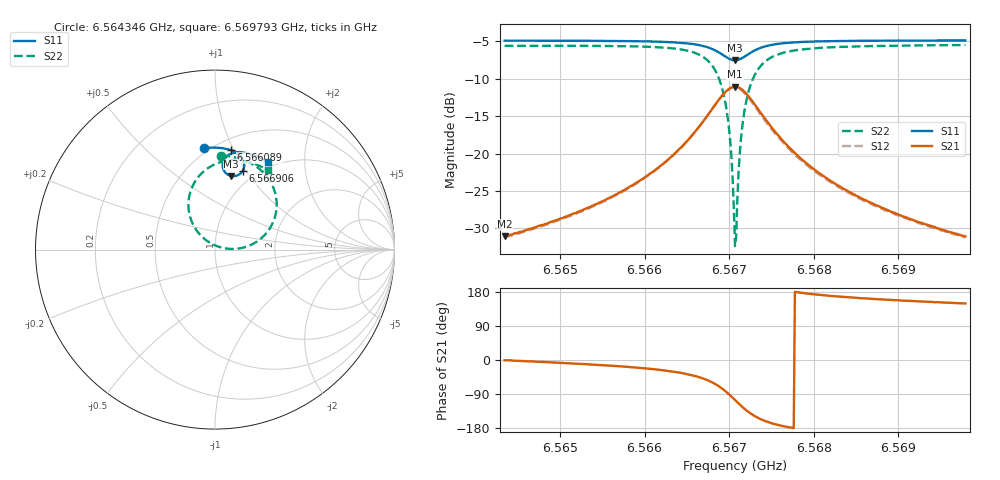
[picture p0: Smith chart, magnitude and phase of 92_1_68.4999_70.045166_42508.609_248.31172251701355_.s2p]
#  HZ  S  RI  R  50.00
! Rohde & Schwarz Vector Network Analyzer
! Rohde-Schwarz,ZNB20-2Port,1311601062101988,3.16
! Created: UTC 3/20/2024, 5:07:50 PM
! freq[Hz]  re:S11  im:S11  re:S21  im:S21  re:S12  im:S12  re:S22  im:S22
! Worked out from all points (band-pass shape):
!   401 points, 6.564346 GHz to 6.569793 GHz, reference 50 ohm
!   highest |S21| = -11.05 dB at 6.567069 GHz (marker M1); lowest = -31.1 dB at 6.564346 GHz (marker M2)
!   |S21| within 3 dB of the highest: 6.566798 GHz to 6.567342 GHz (544.3 kHz wide, 0.00829 % of centre)
!   lowest |S11| = -7.5 dB at 6.567069 GHz (marker M3), VSWR 2.45, Z = 41.3 + j41.2 ohm
!   |S11| at or under -10 dB: nowhere
!   |S22| runs from -32.4 to -5.5 dB; largest |S21 - S12| = 0.013
!   S11 on the Smith chart (normalised r, x): 6.564346 GHz: 0.47, +0.78; 6.566089 GHz: 0.60, +0.97; 6.566906 GHz: 0.86, +0.97; 6.569793 GHz: 0.92, +1.33
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6.5643458e9  -0.0636 0.5655  0.0279 -0.000298  0.0275 -0.000855  0.036 0.5242
6.5652582e9  0.011 0.5677  0.041 -0.00746  0.0403 -0.00821  0.1221 0.5109
6.5660889e9  0.0882 0.5546  0.0686 -0.0303  0.0675 -0.0311  0.2292 0.4632
6.5661706e9  0.0968 0.5513  0.0732 -0.0354  0.0719 -0.0361  0.2431 0.4529
6.5664702e9  0.1313 0.5322  0.094 -0.0677  0.0925 -0.0689  0.302 0.3891
6.5666881e9  0.1564 0.5012  0.1079 -0.1217  0.1055 -0.124  0.3413 0.285
6.5668106e9  0.163 0.4699  0.1005 -0.1761  0.0962 -0.1793  0.3339 0.1811
6.566906e9  0.1542 0.4386  0.0681 -0.23  0.0604 -0.2329  0.2758 0.0801
6.5669604e9  0.1392 0.4217  0.0313 -0.258  0.0214 -0.2592  0.2085 0.03
6.5670013e9  0.1228 0.4126  -0.00537 -0.2713  -0.0166 -0.2707  0.1416 0.00742
6.5670285e9  0.11 0.4096  -0.0329 -0.2748  -0.0446 -0.2722  0.092 0.00359
6.5670558e9  0.0964 0.4093  -0.0613 -0.2728  -0.073 -0.2679  0.0415 0.00994
6.5670694e9  0.0898 0.4104  -0.0756 -0.2697  -0.0869 -0.2639  0.0169 0.0171
6.5670966e9  0.077 0.4148  -0.1024 -0.2591  -0.1129 -0.2514  -0.0292 0.0386
6.5671238e9  0.0656 0.4218  -0.1263 -0.2439  -0.1353 -0.2345  -0.0689 0.0685
6.5671647e9  0.0525 0.4359  -0.1541 -0.2149  -0.1605 -0.2042  -0.1133 0.1229
6.5672192e9  0.0436 0.4575  -0.1756 -0.1719  -0.1784 -0.1608  -0.1435 0.2009
6.5672873e9  0.0436 0.4828  -0.1816 -0.1225  -0.1812 -0.1128  -0.1452 0.2875
6.5675324e9  0.081 0.5306  -0.1396 -0.0277  -0.1366 -0.0235  -0.0491 0.4468
6.5679818e9  0.1442 0.5422  -0.0799 0.00866  -0.0779 0.0098  0.0868 0.4973
6.5688941e9  0.2288 0.5211  -0.0386 0.015  -0.0378 0.0153  0.2169 0.4793
6.5697929e9  0.2949 0.4888  -0.024 0.0143  -0.0235 0.0144  0.2951 0.4428
